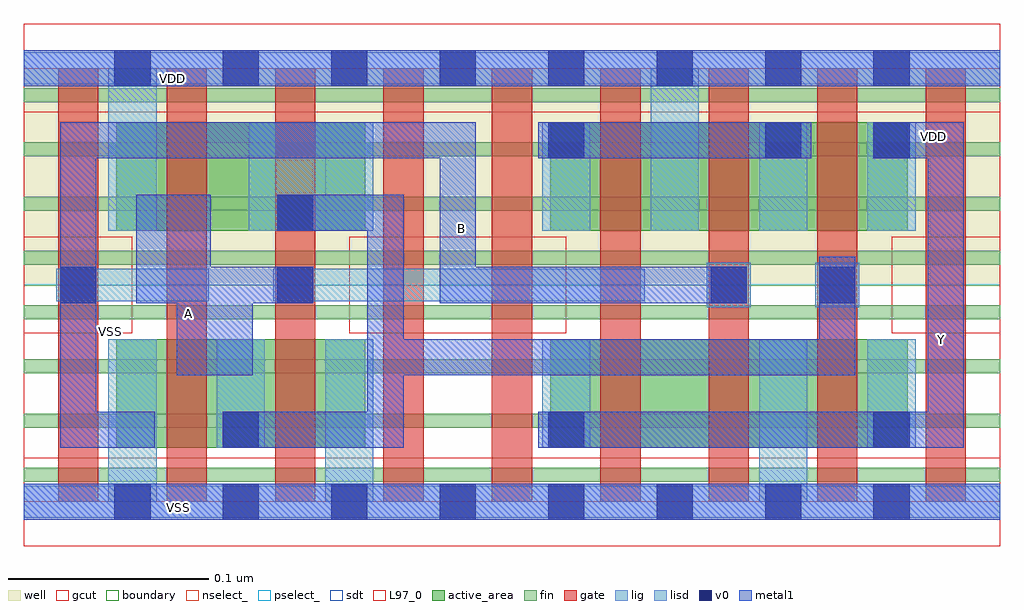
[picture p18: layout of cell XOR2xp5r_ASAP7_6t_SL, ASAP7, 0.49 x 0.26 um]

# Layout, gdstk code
import gdstk
lib = gdstk.Library(unit=1e-6, precision=2.5e-10)
def R(c, l, rs):  # rectangles x0, y0, x1, y1
    for r in rs: c.add(gdstk.rectangle(r[:2], r[2:], *l))
def A(c, l, x, y, w, h, nx, ny, dx, dy):  # array of equal rectangles
    R(c, l, [(x+i*dx, y+j*dy, x+i*dx+w, y+j*dy+h) for i in range(nx) for j in range(ny)])
def P(c, l, *ps):  # polygons
    for p in ps: c.add(gdstk.Polygon(p, *l))
well = (1, 0)
fin = (2, 0)
gate = (7, 0)
gcut = (10, 0)
active_area = (11, 0)
nselect_ = (12, 0)
pselect_ = (13, 0)
lig = (16, 0)
lisd = (17, 0)
v0 = (18, 0)
metal1 = (19, 0)
sdt = (88, 0)
L97_0 = (97, 0)
boundary = (100, 0)

xor2xp5r_asap7_6t_sl = lib.new_cell('XOR2xp5r_ASAP7_6t_SL')
R(xor2xp5r_asap7_6t_sl, well, [(0,0.108,0.486,0.216)])
A(xor2xp5r_asap7_6t_sl, fin, 0, 0.01, 0.486, 0.007, 1, 8, 0, 0.027)
A(xor2xp5r_asap7_6t_sl, gate, 0.017, 0, 0.02, 0.216, 9, 1, 0.054, 0)
R(xor2xp5r_asap7_6t_sl, gcut, [(0,-0.022,0.486,0.022), (0,0.084,0.054,0.132), (0.162,0.084,0.27,0.132), (0.432,0.084,0.486,0.132), (0,0.194,0.486,0.238)])
R(xor2xp5r_asap7_6t_sl, active_area, [(0.046,0.027,0.17,0.081), (0.262,0.027,0.44,0.081), (0.046,0.135,0.17,0.189), (0.262,0.135,0.44,0.189)])
R(xor2xp5r_asap7_6t_sl, nselect_, [(0,0,0.486,0.108)])
R(xor2xp5r_asap7_6t_sl, pselect_, [(0,0.108,0.486,0.216)])
R(xor2xp5r_asap7_6t_sl, lig, [(0,-0.008,0.486,0.008), (0.34,0.097,0.362,0.119), (0.394,0.097,0.416,0.119), (0.016,0.1,0.092,0.116), (0.124,0.1,0.309,0.116), (0,0.208,0.486,0.224)])
A(xor2xp5r_asap7_6t_sl, lisd, 0.096, 0.027, 0.024, 0.054, 3, 1, 0.162, 0)
R(xor2xp5r_asap7_6t_sl, lisd, [(0.042,0,0.066,0.081), (0.15,0,0.174,0.081), (0.366,0,0.39,0.081), (0.042,0.135,0.066,0.216), (0.112,0.135,0.174,0.189), (0.258,0.135,0.282,0.189), (0.312,0.135,0.336,0.216), (0.366,0.135,0.39,0.189), (0.42,0.135,0.444,0.189)])
A(xor2xp5r_asap7_6t_sl, v0, 0.045, -0.009, 0.018, 0.018, 8, 2, 0.054, 0.216)
A(xor2xp5r_asap7_6t_sl, v0, 0.099, 0.027, 0.018, 0.018, 3, 1, 0.162, 0)
R(xor2xp5r_asap7_6t_sl, v0, [(0.018,0.099,0.036,0.117), (0.126,0.099,0.144,0.117), (0.342,0.099,0.36,0.117), (0.396,0.099,0.414,0.117), (0.126,0.135,0.144,0.153), (0.261,0.171,0.279,0.189), (0.369,0.171,0.387,0.189), (0.423,0.171,0.441,0.189)])
R(xor2xp5r_asap7_6t_sl, metal1, [(0,-0.009,0.486,0.009), (0.256,0.171,0.392,0.189), (0,0.207,0.486,0.225)])
P(xor2xp5r_asap7_6t_sl, metal1, [(0.468,0.189),(0.423,0.189),(0.423,0.171),(0.45,0.171),(0.45,0.045),(0.256,0.045),(0.256,0.027),(0.468,0.027)],
  [(0.414,0.122),(0.396,0.122),(0.396,0.081),(0.189,0.081),(0.189,0.153),(0.126,0.153),(0.126,0.135),(0.171,0.135),(0.171,0.045),(0.099,0.045),(0.099,0.027),(0.189,0.027),(0.189,0.063),(0.414,0.063)],
  [(0.36,0.117),(0.225,0.117),(0.225,0.189),(0.018,0.189),(0.018,0.027),(0.065,0.027),(0.065,0.045),(0.036,0.045),(0.036,0.171),(0.207,0.171),(0.207,0.099),(0.36,0.099)],
  [(0.144,0.117),(0.093,0.117),(0.093,0.153),(0.056,0.153),(0.056,0.099),(0.076,0.099),(0.076,0.063),(0.114,0.063),(0.114,0.099),(0.144,0.099)])
A(xor2xp5r_asap7_6t_sl, sdt, 0.042, 0.027, 0.024, 0.054, 3, 1, 0.054, 0)
A(xor2xp5r_asap7_6t_sl, sdt, 0.042, 0.135, 0.024, 0.054, 3, 1, 0.108, 0)
A(xor2xp5r_asap7_6t_sl, sdt, 0.312, 0.135, 0.024, 0.054, 3, 1, 0.054, 0)
R(xor2xp5r_asap7_6t_sl, sdt, [(0.258,0.027,0.282,0.081), (0.366,0.027,0.39,0.081), (0.42,0.027,0.444,0.081)])
R(xor2xp5r_asap7_6t_sl, L97_0, [(0,0,0.486,0.216)])
R(xor2xp5r_asap7_6t_sl, boundary, [(0,0,0.486,0.216)])
xor2xp5r_asap7_6t_sl.add(gdstk.Label('VDD', (0.453,0.182), layer=1, texttype=251))
xor2xp5r_asap7_6t_sl.add(gdstk.Label('VSS', (0.077,-0.003), layer=19, texttype=251))
xor2xp5r_asap7_6t_sl.add(gdstk.Label('VDD', (0.074,0.211), layer=19, texttype=251))
xor2xp5r_asap7_6t_sl.add(gdstk.Label('B', (0.218,0.136), layer=19, texttype=251))
xor2xp5r_asap7_6t_sl.add(gdstk.Label('Y', (0.457,0.081), layer=19, texttype=251))
xor2xp5r_asap7_6t_sl.add(gdstk.Label('A', (0.082,0.094), layer=19, texttype=251))
xor2xp5r_asap7_6t_sl.add(gdstk.Label('VSS', (0.043,0.085), layer=3, texttype=251))

lib.write_gds('XOR2xp5r_ASAP7_6t_SL.gds')
